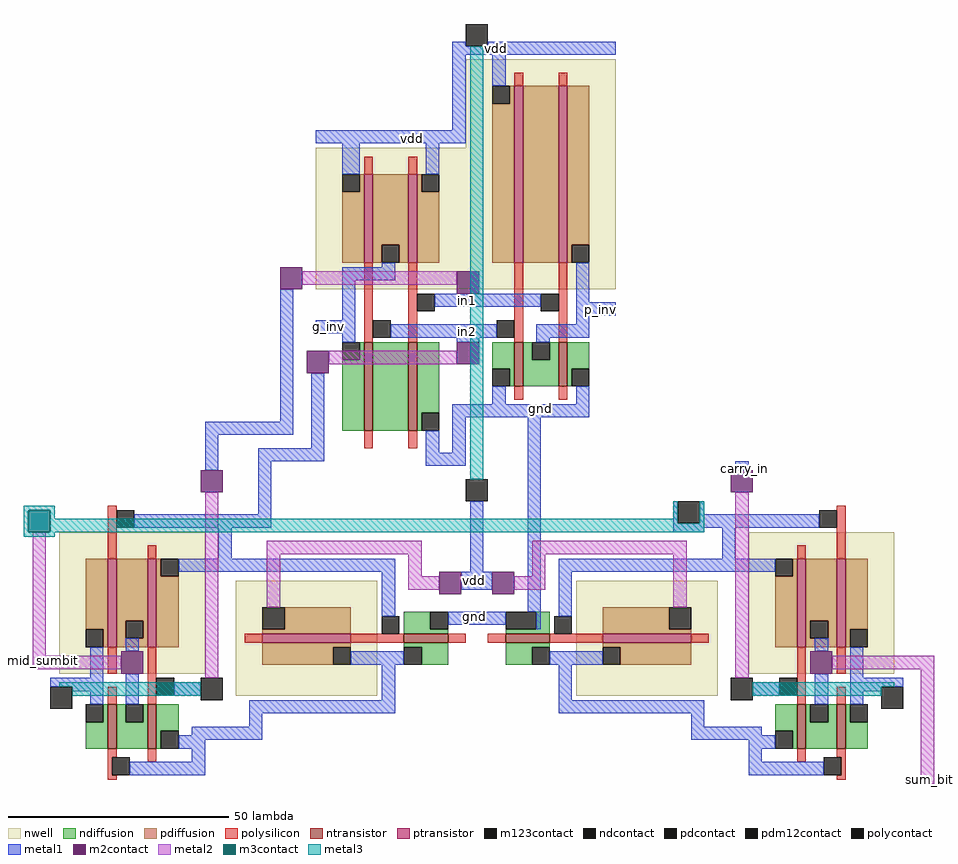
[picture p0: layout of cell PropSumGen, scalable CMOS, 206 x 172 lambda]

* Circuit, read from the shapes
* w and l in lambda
.subckt PropSumGen carry_in g_inv gnd in1 in2 mid_sumbit p_inv sum_bit vdd
M1 mid_sumbit n1 in1 VSUBS nfet w=10 l=2
M2 n1 in1 mid_sumbit VSUBS nfet w=10 l=2
M3 n2 in2 g_inv VSUBS nfet w=20 l=2
M4 gnd in2 n1 VSUBS nfet w=10 l=2
M5 gnd in1 n2 VSUBS nfet w=20 l=2
M6 gnd mid_sumbit n3 VSUBS nfet w=10 l=2
M7 p_inv in2 gnd VSUBS nfet w=10 l=2
M8 gnd in1 p_inv VSUBS nfet w=10 l=2
M9 sum_bit carry_in n3 VSUBS nfet w=10 l=2
M10 carry_in n3 sum_bit VSUBS nfet w=10 l=2
M11 mid_sumbit in2 in1 n4 pfet w=20 l=2
M12 in2 in1 mid_sumbit n4 pfet w=20 l=2
M13 vdd in2 n1 n5 pfet w=20 l=2
M14 g_inv in2 vdd n6 pfet w=20 l=2
M15 vdd in1 g_inv n6 pfet w=20 l=2
M16 n7 in2 vdd n6 pfet w=40 l=2
M17 p_inv in1 n7 n6 pfet w=40 l=2
M18 vdd mid_sumbit n3 n8 pfet w=20 l=2
M19 sum_bit carry_in mid_sumbit n9 pfet w=20 l=2
M20 carry_in mid_sumbit sum_bit n9 pfet w=20 l=2
.ends

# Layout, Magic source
magic
tech scmos
<< nwell >>
rect -3 -138 31 -118
rect -37 -170 31 -138
rect -95 -257 -62 -225
rect -55 -262 -23 -236
rect 22 -262 54 -236
rect 61 -257 94 -225
<< ntransistor >>
rect -26 -202 -24 -182
rect -16 -202 -14 -182
rect 8 -192 10 -182
rect 18 -192 20 -182
rect -17 -250 -7 -248
rect 6 -250 16 -248
rect -84 -274 -82 -264
rect -75 -274 -73 -264
rect 72 -274 74 -264
rect 81 -274 83 -264
<< ptransistor >>
rect -26 -164 -24 -144
rect -16 -164 -14 -144
rect 8 -164 10 -124
rect 18 -164 20 -124
rect -84 -251 -82 -231
rect -75 -251 -73 -231
rect -49 -250 -29 -248
rect 28 -250 48 -248
rect 72 -251 74 -231
rect 81 -251 83 -231
<< ndiffusion >>
rect -27 -186 -26 -182
rect -31 -202 -26 -186
rect -24 -202 -16 -182
rect -14 -198 -9 -182
rect 3 -188 8 -182
rect 7 -192 8 -188
rect 10 -186 12 -182
rect 16 -186 18 -182
rect 10 -192 18 -186
rect 20 -188 25 -182
rect 20 -192 21 -188
rect -14 -202 -13 -198
rect -17 -247 -11 -243
rect -17 -248 -7 -247
rect 13 -247 16 -243
rect 6 -248 16 -247
rect -17 -251 -7 -250
rect -13 -255 -7 -251
rect 6 -251 16 -250
rect 6 -255 12 -251
rect -85 -268 -84 -264
rect -89 -274 -84 -268
rect -82 -268 -80 -264
rect -76 -268 -75 -264
rect -82 -274 -75 -268
rect -73 -270 -68 -264
rect -73 -274 -72 -270
rect 67 -270 72 -264
rect 71 -274 72 -270
rect 74 -268 75 -264
rect 79 -268 81 -264
rect 74 -274 81 -268
rect 83 -268 84 -264
rect 83 -274 88 -268
<< pdiffusion >>
rect 7 -128 8 -124
rect -27 -148 -26 -144
rect -31 -164 -26 -148
rect -24 -160 -16 -144
rect -24 -164 -22 -160
rect -18 -164 -16 -160
rect -14 -148 -13 -144
rect -14 -164 -9 -148
rect 3 -164 8 -128
rect 10 -164 18 -124
rect 20 -160 25 -124
rect 20 -164 21 -160
rect -89 -247 -84 -231
rect -85 -251 -84 -247
rect -82 -245 -75 -231
rect -82 -249 -80 -245
rect -76 -249 -75 -245
rect -82 -251 -75 -249
rect -73 -235 -72 -231
rect -73 -251 -68 -235
rect 71 -235 72 -231
rect -44 -247 -29 -242
rect -49 -248 -29 -247
rect 28 -247 43 -242
rect 28 -248 48 -247
rect -49 -251 -29 -250
rect -49 -255 -33 -251
rect 28 -251 48 -250
rect 67 -251 72 -235
rect 74 -245 81 -231
rect 74 -249 75 -245
rect 79 -249 81 -245
rect 74 -251 81 -249
rect 83 -247 88 -231
rect 83 -251 84 -247
rect 32 -255 48 -251
<< ndcontact >>
rect -31 -186 -27 -182
rect 3 -192 7 -188
rect 12 -186 16 -182
rect 21 -192 25 -188
rect -13 -202 -9 -198
rect -11 -247 -7 -243
rect 6 -247 13 -243
rect -17 -255 -13 -251
rect 12 -255 16 -251
rect -89 -268 -85 -264
rect -80 -268 -76 -264
rect -72 -274 -68 -270
rect 67 -274 71 -270
rect 75 -268 79 -264
rect 84 -268 88 -264
<< pdcontact >>
rect 3 -128 7 -124
rect -31 -148 -27 -144
rect -22 -164 -18 -160
rect -13 -148 -9 -144
rect 21 -164 25 -160
rect -89 -251 -85 -247
rect -80 -249 -76 -245
rect -72 -235 -68 -231
rect 67 -235 71 -231
rect -33 -255 -29 -251
rect 75 -249 79 -245
rect 84 -251 88 -247
rect 28 -255 32 -251
<< polysilicon >>
rect 8 -124 10 -121
rect 18 -124 20 -121
rect -26 -144 -24 -140
rect -16 -144 -14 -140
rect -26 -182 -24 -164
rect -16 -182 -14 -164
rect 8 -182 10 -164
rect 18 -182 20 -164
rect 8 -195 10 -192
rect 18 -195 20 -192
rect -26 -206 -24 -202
rect -16 -206 -14 -202
rect -84 -231 -82 -219
rect -75 -231 -73 -228
rect 72 -231 74 -228
rect 81 -231 83 -219
rect -53 -250 -49 -248
rect -29 -250 -17 -248
rect -7 -250 -3 -248
rect 2 -250 6 -248
rect 16 -250 28 -248
rect 48 -250 52 -248
rect -84 -257 -82 -251
rect -84 -264 -82 -260
rect -75 -264 -73 -251
rect 72 -264 74 -251
rect 81 -257 83 -251
rect 81 -264 83 -260
rect -84 -276 -82 -274
rect -84 -280 -83 -276
rect -75 -277 -73 -274
rect 72 -277 74 -274
rect 81 -276 83 -274
rect 82 -280 83 -276
rect -84 -281 -82 -280
rect 81 -281 83 -280
<< polycontact >>
rect -24 -181 -20 -177
rect -14 -175 -10 -171
rect 4 -181 8 -177
rect 14 -175 18 -171
rect -82 -224 -78 -220
rect 77 -224 81 -220
rect -22 -248 -18 -244
rect 17 -248 21 -244
rect -73 -262 -69 -258
rect 68 -262 72 -258
rect -83 -280 -79 -276
rect 78 -280 82 -276
<< metal1 >>
rect -6 -115 -3 -114
rect 2 -115 31 -114
rect -6 -117 31 -115
rect -6 -134 -3 -117
rect 3 -124 6 -117
rect -37 -137 -3 -134
rect -31 -144 -27 -137
rect -12 -144 -9 -137
rect -22 -165 -19 -164
rect -31 -168 -19 -165
rect -45 -200 -42 -170
rect -31 -177 -28 -168
rect -10 -174 14 -171
rect 22 -173 25 -164
rect 22 -176 31 -173
rect -37 -180 -28 -177
rect -31 -182 -28 -180
rect -20 -181 4 -178
rect 22 -178 25 -176
rect 13 -181 25 -178
rect -5 -182 0 -181
rect 13 -182 16 -181
rect -62 -203 -42 -200
rect -62 -211 -59 -203
rect -38 -206 -35 -189
rect 3 -196 6 -192
rect 22 -196 25 -192
rect -50 -209 -35 -206
rect -12 -207 -9 -202
rect -6 -199 25 -196
rect -6 -207 -3 -199
rect -50 -221 -47 -209
rect -12 -210 -3 -207
rect -78 -224 -47 -221
rect -59 -231 -56 -224
rect -68 -234 -19 -231
rect -2 -234 1 -218
rect -88 -258 -85 -251
rect -22 -244 -19 -234
rect -4 -238 3 -234
rect 11 -243 14 -199
rect 58 -211 61 -209
rect 44 -223 45 -218
rect 50 -221 51 -218
rect 50 -223 77 -221
rect 44 -224 77 -223
rect 44 -225 51 -224
rect 55 -231 58 -224
rect -7 -246 6 -243
rect 13 -247 14 -243
rect 18 -234 67 -231
rect 18 -244 21 -234
rect -80 -252 -77 -249
rect -29 -255 -17 -252
rect 16 -255 28 -252
rect 76 -252 79 -249
rect -97 -260 -85 -258
rect -92 -261 -85 -260
rect -88 -264 -85 -261
rect -80 -264 -77 -257
rect -69 -262 -63 -259
rect -22 -263 -19 -255
rect -52 -266 -19 -263
rect 18 -263 21 -255
rect 62 -262 68 -259
rect 18 -266 51 -263
rect 76 -264 79 -257
rect -52 -269 -49 -266
rect -65 -271 -49 -269
rect -68 -272 -49 -271
rect 48 -269 51 -266
rect 84 -258 87 -251
rect 84 -260 96 -258
rect 84 -261 91 -260
rect 84 -264 87 -261
rect 48 -271 64 -269
rect 48 -272 67 -271
rect -68 -274 -62 -272
rect -65 -277 -62 -274
rect -79 -280 -62 -277
rect 61 -274 67 -272
rect 61 -277 64 -274
rect 61 -280 78 -277
<< m2contact >>
rect -45 -170 -40 -165
rect -5 -171 0 -166
rect -39 -189 -34 -184
rect -5 -187 0 -182
rect -63 -216 -58 -211
rect -9 -239 -4 -234
rect 3 -239 8 -234
rect 57 -216 62 -211
rect -81 -257 -76 -252
rect 75 -257 80 -252
<< pdm12contact >>
rect -49 -247 -44 -242
rect 43 -247 48 -242
<< metal2 >>
rect -40 -169 -5 -166
rect -34 -187 -5 -184
rect -101 -253 -98 -225
rect -101 -256 -81 -253
rect -62 -258 -59 -216
rect -48 -230 -13 -227
rect -48 -242 -45 -230
rect -16 -235 -13 -230
rect 12 -230 47 -227
rect -16 -238 -9 -235
rect 12 -235 15 -230
rect 8 -238 15 -235
rect 44 -242 47 -230
rect 58 -258 61 -216
rect 80 -256 103 -253
rect 100 -282 103 -256
<< m3contact >>
rect -102 -225 -97 -220
<< m123contact >>
rect -3 -115 2 -110
rect -3 -218 2 -213
rect 45 -223 50 -218
rect -97 -265 -92 -260
rect -63 -263 -58 -258
rect 57 -263 62 -258
rect 91 -265 96 -260
<< metal3 >>
rect -2 -213 1 -115
rect -103 -220 -96 -219
rect -103 -225 -102 -220
rect -97 -222 -96 -220
rect 44 -222 45 -218
rect -97 -223 45 -222
rect 50 -223 51 -218
rect -97 -225 51 -223
rect -103 -226 -96 -225
rect -95 -260 -63 -259
rect -92 -262 -63 -260
rect 62 -260 94 -259
rect 62 -262 91 -260
<< labels >>
rlabel metal1 -1 -236 -1 -236 3 vdd
rlabel metal1 -1 -244 -1 -244 3 gnd
rlabel metal2 -99 -254 -98 -254 3 mid_sumbit
rlabel metal1 59 -212 61 -209 5 carry_in
rlabel metal2 102 -281 102 -281 7 sum_bit
rlabel metal1 -8 -181 3 -178 1 in2
rlabel metal1 -8 -174 3 -171 1 in1
rlabel metal1 -15 -136 -15 -136 5 vdd
rlabel metal1 14 -197 14 -197 1 gnd
rlabel metal1 4 -116 4 -115 5 vdd
rlabel metal1 -37 -180 -31 -177 1 g_inv
rlabel metal1 25 -176 30 -173 1 p_inv
<< end >>
